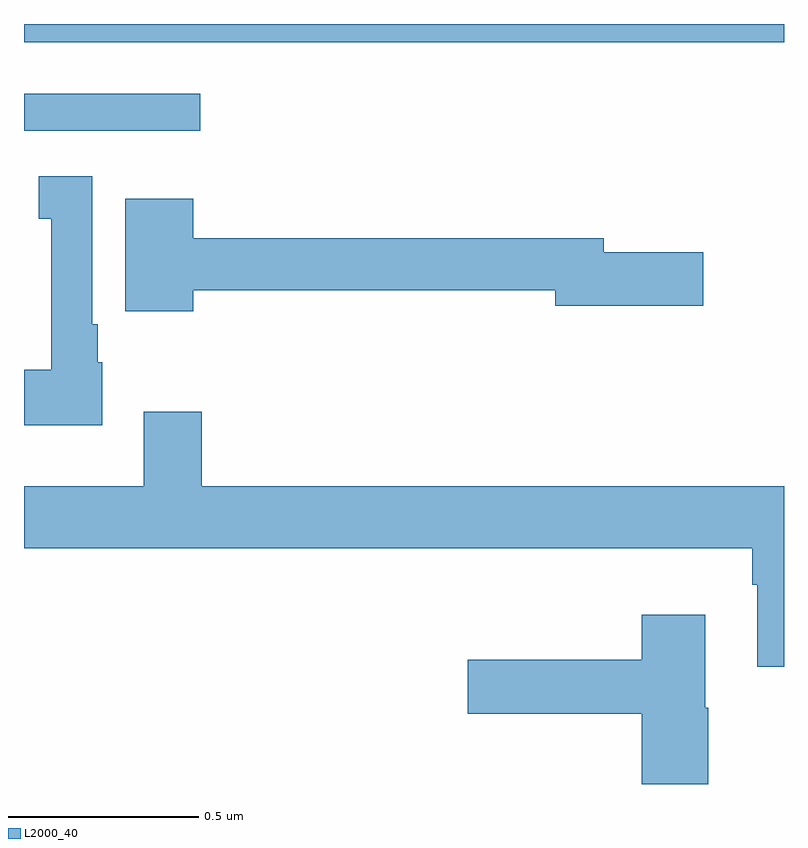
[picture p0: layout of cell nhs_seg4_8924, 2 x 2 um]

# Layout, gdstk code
import gdstk
lib = gdstk.Library(unit=1e-6, precision=1e-09)
def R(c, l, rs):  # rectangles x0, y0, x1, y1
    for r in rs: c.add(gdstk.rectangle(r[:2], r[2:], *l))
def P(c, l, *ps):  # polygons
    for p in ps: c.add(gdstk.Polygon(p, *l))
L2000_40 = (2000, 40)

nhs_seg4_8924 = lib.new_cell('nhs_seg4_8924')
R(nhs_seg4_8924, L2000_40, [(221,764.619,221.464,764.716), (221,764.852,223,764.9)])
P(nhs_seg4_8924, L2000_40, [(221.206,764.01),(221.194,764.01),(221.194,764.11),(221.179,764.11),(221.179,764.5),(221.039,764.5),(221.039,764.387),(221.072,764.387),(221.072,763.99),(221,763.99),(221,763.844),(221.206,763.844)],
  [(221.446,764.2),(222.398,764.2),(222.398,764.158),(222.787,764.158),(222.787,764.3),(222.526,764.3),(222.526,764.336),(221.446,764.336),(221.446,764.44),(221.267,764.44),(221.267,764.144),(221.446,764.144)],
  [(223,763.684),(221.468,763.684),(221.468,763.879),(221.315,763.879),(221.315,763.684),(221,763.684),(221,763.52),(222.917,763.52),(222.917,763.424),(222.929,763.424),(222.929,763.209),(223,763.209)],
  [(222.801,763.101),(222.793,763.101),(222.793,763.345),(222.626,763.345),(222.626,763.227),(222.168,763.227),(222.168,763.085),(222.626,763.085),(222.626,762.9),(222.801,762.9)])

lib.write_gds('nhs_seg4_8924.gds')
